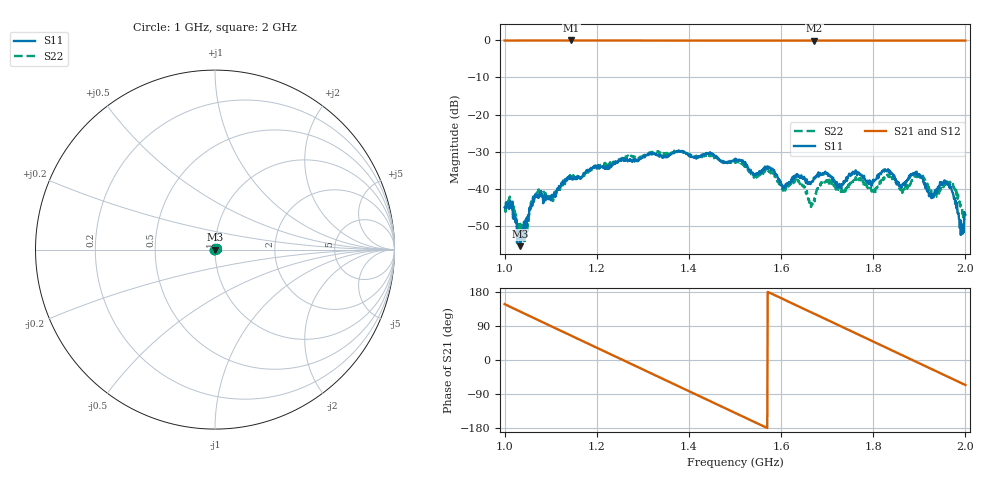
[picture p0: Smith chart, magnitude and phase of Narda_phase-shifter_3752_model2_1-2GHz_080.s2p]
#  HZ  S  DB  R  50.00
! Rohde & Schwarz Vector Network Analyzer
! Rohde-Schwarz,ZNB8-4Port,1311601044102961,2.82
! Created: UTC 1/17/2019, 2:46:56 PM
! freq[Hz]  db:S11  ang:S11  db:S21  ang:S21  db:S12  ang:S12  db:S22  ang:S22
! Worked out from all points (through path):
!   1001 points, 1 GHz to 2 GHz, reference 50 ohm
!   highest |S21| = -0.04 dB at 1.145 GHz (marker M1); lowest = -0.1 dB at 1.672 GHz (marker M2)
!   group delay of S21, straight-line fit = 1.59 ns
!   lowest |S11| = -55.4 dB at 1.034 GHz (marker M3), VSWR 1.00, Z = 49.9 - j0.101 ohm
!   |S11| at or under -10 dB: start of sweep to end of sweep
!   |S22| runs from -54.0 to -29.7 dB; largest |S21 - S12| = 0.011
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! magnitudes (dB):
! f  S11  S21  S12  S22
! 1 GHz  -45.0  -0.1  -0.1  -45.1
! 1.012 GHz  -44.9  -0.1  -0.1  -43.7
! 1.034 GHz  -55.4  -0.1  -0.1  -49.4
! 1.047 GHz  -50.2  -0.1  -0.1  -51.6
! 1.066 GHz  -41.7  -0.1  -0.1  -42.0
! 1.145 GHz  -36.9  0.0  -0.1  -37.0
! 1.167 GHz  -36.9  0.0  -0.1  -36.7
! 1.334 GHz  -31.0  -0.1  -0.1  -29.9
! 1.5 GHz  -32.3  -0.1  -0.1  -32.9
! 1.605 GHz  -39.2  -0.1  -0.1  -40.1
! 1.636 GHz  -36.1  -0.1  -0.1  -37.5
! 1.667 GHz  -37.9  -0.1  -0.1  -43.8
! 1.672 GHz  -37.1  -0.1  -0.1  -42.5
! 1.693 GHz  -35.7  -0.1  -0.1  -38.1
! 1.801 GHz  -38.1  -0.1  -0.1  -40.3
! 1.834 GHz  -35.0  -0.1  -0.1  -36.3
! 1.864 GHz  -38.6  -0.1  -0.1  -40.5
! 1.904 GHz  -36.9  -0.1  -0.1  -36.5
! 1.932 GHz  -41.2  -0.1  -0.1  -41.9
! 1.967 GHz  -39.8  -0.1  -0.1  -38.1
! 1.991 GHz  -50.4  -0.1  -0.1  -44.6
! 2 GHz  -46.9  -0.1  -0.1  -48.3
